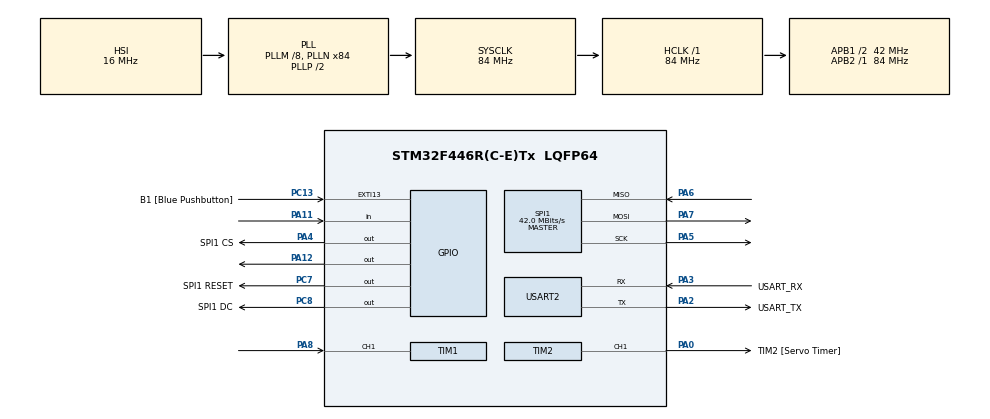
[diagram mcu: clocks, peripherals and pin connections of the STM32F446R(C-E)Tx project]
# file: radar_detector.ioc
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Mcu.Family=STM32F4
Mcu.Name=STM32F446R(C-E)Tx
Mcu.Package=LQFP64
NVIC.EXTI15_10_IRQn=true\:0\:0\:false\:false\:true\:true\:true\:true
NVIC.PriorityGroup=NVIC_PRIORITYGROUP_0
NVIC.TIM1_CC_IRQn=true\:0\:0\:false\:false\:true\:true\:true\:true
PA0-WKUP.GPIO_Label=TIM2 [Servo Timer]
PA0-WKUP.Signal=S_TIM2_CH1_ETR
PA11.Signal=GPIO_Input
PA12.Signal=GPIO_Output
PA13.GPIO_Label=TMS
PA13.Mode=Serial_Wire
PA13.Signal=SYS_JTMS-SWDIO
PA14.GPIO_Label=TCK
PA14.Mode=Serial_Wire
PA14.Signal=SYS_JTCK-SWCLK
PA2.GPIO_Label=USART_TX
PA2.Mode=Asynchronous
PA2.Signal=USART2_TX
PA3.GPIO_Label=USART_RX
PA3.Mode=Asynchronous
PA3.Signal=USART2_RX
PA4.GPIO_Label=SPI1 CS
PA4.GPIO_Speed=GPIO_SPEED_FREQ_VERY_HIGH
PA4.PinState=GPIO_PIN_SET
PA4.Signal=GPIO_Output
PA5.Mode=Full_Duplex_Master
PA5.Signal=SPI1_SCK
PA6.Mode=Full_Duplex_Master
PA6.Signal=SPI1_MISO
PA7.Mode=Full_Duplex_Master
PA7.Signal=SPI1_MOSI
PA8.Signal=S_TIM1_CH1
PB3.GPIO_Label=SWO
PB3.Signal=SYS_JTDO-SWO
PC13.GPIO_Label=B1 [Blue Pushbutton]
PC13.GPIO_ModeDefaultEXTI=GPIO_MODE_IT_FALLING
PC13.Signal=GPXTI13
PC14-OSC32_IN.Signal=RCC_OSC32_IN
PC15-OSC32_OUT.Signal=RCC_OSC32_OUT
PC7.GPIO_Label=SPI1 RESET
PC7.GPIO_Speed=GPIO_SPEED_FREQ_VERY_HIGH
PC7.Signal=GPIO_Output
PC8.GPIO_Label=SPI1 DC
PC8.GPIO_Speed=GPIO_SPEED_FREQ_VERY_HIGH
PC8.PinState=GPIO_PIN_RESET
PC8.Signal=GPIO_Output
PH0-OSC_IN.Mode=HSE-External-Oscillator
PH0-OSC_IN.Signal=RCC_OSC_IN
PH1-OSC_OUT.Mode=HSE-External-Oscillator
PH1-OSC_OUT.Signal=RCC_OSC_OUT
ProjectManager.HeapSize=0x200
ProjectManager.StackSize=0x400
ProjectManager.TargetToolchain=STM32CubeIDE
RCC.48MHZClocksFreq_Value=84000000
RCC.AHBFreq_Value=84000000
RCC.APB1CLKDivider=RCC_HCLK_DIV2
RCC.APB1Freq_Value=42000000
RCC.APB1TimFreq_Value=84000000
RCC.APB2Freq_Value=84000000
RCC.APB2TimFreq_Value=84000000
RCC.CortexFreq_Value=84000000
RCC.FLatency-AdvancedSettings=FLASH_LATENCY_2
RCC.HCLKFreq_Value=84000000
RCC.HSE_VALUE=8000000
RCC.HSI_VALUE=16000000
RCC.PLLM=8
RCC.PLLN=84
RCC.SYSCLKFreq_VALUE=84000000
RCC.SYSCLKSource=RCC_SYSCLKSOURCE_PLLCLK
RCC.USBFreq_Value=84000000
RCC.VCOOutputFreq_Value=168000000
SH.S_TIM1_CH1.0=TIM1_CH1,Input_Capture1_from_TI1
SH.S_TIM2_CH1_ETR.0=TIM2_CH1,PWM Generation1 CH1
SPI1.BaudRatePrescaler=SPI_BAUDRATEPRESCALER_2
SPI1.CalculateBaudRate=42.0 MBits/s
SPI1.DataSize=SPI_DATASIZE_8BIT
SPI1.Direction=SPI_DIRECTION_2LINES
SPI1.Mode=SPI_MODE_MASTER
SPI1.VirtualType=VM_MASTER
TIM1.Channel-Input_Capture1_from_TI1=TIM_CHANNEL_1
TIM1.Period=0xffff-1
TIM1.Prescaler=84-1
TIM2.Channel-PWM\ Generation1\ CH1=TIM_CHANNEL_1
TIM2.Period=8400-1
TIM2.Prescaler=200-1
USART2.VirtualMode=VM_ASYNC
VP_TIM1_VS_ClockSourceINT.Mode=Internal
VP_TIM2_VS_ClockSourceINT.Mode=Internal
board=NUCLEO-F446RE

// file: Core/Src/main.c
/* USER CODE BEGIN Header */
/**
  ******************************************************************************
  * @file           : main.c
  * @brief          : Main program body
  ******************************************************************************
  * @attention
  *
  * Copyright (c) 2025 STMicroelectronics.
  * All rights reserved.
  *
  * This software is licensed under terms that can be found in the LICENSE file
  * in the root directory of this software component.
  * If no LICENSE file comes with this software, it is provided AS-IS.
  *
  ******************************************************************************
  */
/* USER CODE END Header */
#include "main.h"

/* USER CODE BEGIN Includes */
#include <string.h>
#include "servo.h"
#include "HC_SR04.h"
#include <stdio.h>
#include "ILI9341_STM32_Driver.h"
/* USER CODE END Includes */

/* USER CODE BEGIN PD */
#define TIMEOUT 15
/* USER CODE END PD */

SPI_HandleTypeDef hspi1;

TIM_HandleTypeDef htim1;
TIM_HandleTypeDef htim2;

UART_HandleTypeDef huart2;

/* USER CODE BEGIN PV */
int button_state = 0;
static uint16_t current_angle = 0;
static int8_t direction =1; //1 is forward, -1 is reverse
/* USER CODE END PV */

void SystemClock_Config(void);
static void MX_GPIO_Init(void);
static void MX_USART2_UART_Init(void);
static void MX_TIM2_Init(void);
static void MX_TIM1_Init(void);
static void MX_SPI1_Init(void);

int main(void)
{

  /* USER CODE BEGIN 1 */
	const char connection_msg[] = "UART to PC success \n";
	char transmit_distance_msg[22];
  /* USER CODE END 1 */

  /* MCU Configuration--------------------------------------------------------*/

  /* Reset of all peripherals, Initializes the Flash interface and the Systick. */
  HAL_Init();

  /* Configure the system clock */
  SystemClock_Config();

  /* Initialize all configured peripherals */
  MX_GPIO_Init();
  MX_USART2_UART_Init();
  MX_TIM2_Init();
  MX_TIM1_Init();
  MX_SPI1_Init();
  /* USER CODE BEGIN 2 */
  HAL_UART_Transmit(&huart2,(const uint8_t*) connection_msg , strlen(connection_msg), TIMEOUT);
  HAL_TIM_PWM_Start(&htim2, TIM_CHANNEL_1);
  HCR04_init(&htim1);
  ILI9341_Init(&hspi1);

  ILI9341_Fill_Screen(RED);
  HAL_Delay(1000);

  ILI9341_Fill_Screen(GREEN);
  HAL_Delay(1000);

  ILI9341_Fill_Screen(BLUE);
  HAL_Delay(1000);

  ILI9341_Fill_Screen(BLACK);
  HAL_Delay(1000);

  // Draw a single WHITE pixel at (10, 10)
  ILI9341_Draw_Pixel(10, 10, 0xFFFF);
  /* USER CODE END 2 */

  /* Infinite loop */
  /* USER CODE BEGIN WHILE */
  while (1)
  {

	  if(button_state == 0) {
		  set_servo_angle(&htim2, TIM_CHANNEL_1, current_angle);

		  uint16_t distance = HCSR04_read(&htim1);
		  uint32_t filtered = median_filter(distance);
		  sprintf(transmit_distance_msg, "Dist: %lu cm \r\n", filtered);
		  HAL_UART_Transmit(&huart2, (uint8_t*)transmit_distance_msg, strlen(transmit_distance_msg), TIMEOUT);
		  HAL_Delay(10);
		  draw_line_to_object(current_angle, filtered);

		  current_angle += direction;

		  //change direction at boundaries
		  if(current_angle >= 180) {
			  direction = -1; //start going backward
			  ILI9341_Fill_Screen(BLACK);
		  } else if(current_angle <= 0) {
			  direction = 1; //start going forward
			  ILI9341_Fill_Screen(BLACK);
		  }
	 }
  }
    /* USER CODE END WHILE */

}

void SystemClock_Config(void)
{
  RCC_OscInitTypeDef RCC_OscInitStruct = {0};
  RCC_ClkInitTypeDef RCC_ClkInitStruct = {0};

  /** Configure the main internal regulator output voltage
  */
  __HAL_RCC_PWR_CLK_ENABLE();
  __HAL_PWR_VOLTAGESCALING_CONFIG(PWR_REGULATOR_VOLTAGE_SCALE3);

  /** Initializes the RCC Oscillators according to the specified parameters
  * in the RCC_OscInitTypeDef structure.
  */
  RCC_OscInitStruct.OscillatorType = RCC_OSCILLATORTYPE_HSI;
  RCC_OscInitStruct.HSIState = RCC_HSI_ON;
  RCC_OscInitStruct.HSICalibrationValue = RCC_HSICALIBRATION_DEFAULT;
  RCC_OscInitStruct.PLL.PLLState = RCC_PLL_ON;
  RCC_OscInitStruct.PLL.PLLSource = RCC_PLLSOURCE_HSI;
  RCC_OscInitStruct.PLL.PLLM = 8;
  RCC_OscInitStruct.PLL.PLLN = 84;
  RCC_OscInitStruct.PLL.PLLP = RCC_PLLP_DIV2;
  RCC_OscInitStruct.PLL.PLLQ = 2;
  RCC_OscInitStruct.PLL.PLLR = 2;
  if (HAL_RCC_OscConfig(&RCC_OscInitStruct) != HAL_OK)
  {
    Error_Handler();
  }

  /** Initializes the CPU, AHB and APB buses clocks
  */
  RCC_ClkInitStruct.ClockType = RCC_CLOCKTYPE_HCLK|RCC_CLOCKTYPE_SYSCLK
                              |RCC_CLOCKTYPE_PCLK1|RCC_CLOCKTYPE_PCLK2;
  RCC_ClkInitStruct.SYSCLKSource = RCC_SYSCLKSOURCE_PLLCLK;
  RCC_ClkInitStruct.AHBCLKDivider = RCC_SYSCLK_DIV1;
  RCC_ClkInitStruct.APB1CLKDivider = RCC_HCLK_DIV2;
  RCC_ClkInitStruct.APB2CLKDivider = RCC_HCLK_DIV1;

  if (HAL_RCC_ClockConfig(&RCC_ClkInitStruct, FLASH_LATENCY_2) != HAL_OK)
  {
    Error_Handler();
  }
}

static void MX_SPI1_Init(void)
{

  /* SPI1 parameter configuration*/
  hspi1.Instance = SPI1;
  hspi1.Init.Mode = SPI_MODE_MASTER;
  hspi1.Init.Direction = SPI_DIRECTION_2LINES;
  hspi1.Init.DataSize = SPI_DATASIZE_8BIT;
  hspi1.Init.CLKPolarity = SPI_POLARITY_LOW;
  hspi1.Init.CLKPhase = SPI_PHASE_1EDGE;
  hspi1.Init.NSS = SPI_NSS_SOFT;
  hspi1.Init.BaudRatePrescaler = SPI_BAUDRATEPRESCALER_2;
  hspi1.Init.FirstBit = SPI_FIRSTBIT_MSB;
  hspi1.Init.TIMode = SPI_TIMODE_DISABLE;
  hspi1.Init.CRCCalculation = SPI_CRCCALCULATION_DISABLE;
  hspi1.Init.CRCPolynomial = 10;
  if (HAL_SPI_Init(&hspi1) != HAL_OK)
  {
    Error_Handler();
  }

}

static void MX_TIM1_Init(void)
{

  TIM_ClockConfigTypeDef sClockSourceConfig = {0};
  TIM_MasterConfigTypeDef sMasterConfig = {0};
  TIM_IC_InitTypeDef sConfigIC = {0};

  htim1.Instance = TIM1;
  htim1.Init.Prescaler = 84-1;
  htim1.Init.CounterMode = TIM_COUNTERMODE_UP;
  htim1.Init.Period = 0xffff-1;
  htim1.Init.ClockDivision = TIM_CLOCKDIVISION_DIV1;
  htim1.Init.RepetitionCounter = 0;
  htim1.Init.AutoReloadPreload = TIM_AUTORELOAD_PRELOAD_DISABLE;
  if (HAL_TIM_Base_Init(&htim1) != HAL_OK)
  {
    Error_Handler();
  }
  sClockSourceConfig.ClockSource = TIM_CLOCKSOURCE_INTERNAL;
  if (HAL_TIM_ConfigClockSource(&htim1, &sClockSourceConfig) != HAL_OK)
  {
    Error_Handler();
  }
  if (HAL_TIM_IC_Init(&htim1) != HAL_OK)
  {
    Error_Handler();
  }
  sMasterConfig.MasterOutputTrigger = TIM_TRGO_RESET;
  sMasterConfig.MasterSlaveMode = TIM_MASTERSLAVEMODE_DISABLE;
  if (HAL_TIMEx_MasterConfigSynchronization(&htim1, &sMasterConfig) != HAL_OK)
  {
    Error_Handler();
  }
  sConfigIC.ICPolarity = TIM_INPUTCHANNELPOLARITY_RISING;
  sConfigIC.ICSelection = TIM_ICSELECTION_DIRECTTI;
  sConfigIC.ICPrescaler = TIM_ICPSC_DIV1;
  sConfigIC.ICFilter = 0;
  if (HAL_TIM_IC_ConfigChannel(&htim1, &sConfigIC, TIM_CHANNEL_1) != HAL_OK)
  {
    Error_Handler();
  }

}

static void MX_TIM2_Init(void)
{

  TIM_ClockConfigTypeDef sClockSourceConfig = {0};
  TIM_MasterConfigTypeDef sMasterConfig = {0};
  TIM_OC_InitTypeDef sConfigOC = {0};

  htim2.Instance = TIM2;
  htim2.Init.Prescaler = 200-1;
  htim2.Init.CounterMode = TIM_COUNTERMODE_UP;
  htim2.Init.Period = 8400-1;
  htim2.Init.ClockDivision = TIM_CLOCKDIVISION_DIV1;
  htim2.Init.AutoReloadPreload = TIM_AUTORELOAD_PRELOAD_DISABLE;
  if (HAL_TIM_Base_Init(&htim2) != HAL_OK)
  {
    Error_Handler();
  }
  sClockSourceConfig.ClockSource = TIM_CLOCKSOURCE_INTERNAL;
  if (HAL_TIM_ConfigClockSource(&htim2, &sClockSourceConfig) != HAL_OK)
  {
    Error_Handler();
  }
  if (HAL_TIM_PWM_Init(&htim2) != HAL_OK)
  {
    Error_Handler();
  }
  sMasterConfig.MasterOutputTrigger = TIM_TRGO_RESET;
  sMasterConfig.MasterSlaveMode = TIM_MASTERSLAVEMODE_DISABLE;
  if (HAL_TIMEx_MasterConfigSynchronization(&htim2, &sMasterConfig) != HAL_OK)
  {
    Error_Handler();
  }
  sConfigOC.OCMode = TIM_OCMODE_PWM1;
  sConfigOC.Pulse = 0;
  sConfigOC.OCPolarity = TIM_OCPOLARITY_HIGH;
  sConfigOC.OCFastMode = TIM_OCFAST_DISABLE;
  if (HAL_TIM_PWM_ConfigChannel(&htim2, &sConfigOC, TIM_CHANNEL_1) != HAL_OK)
  {
    Error_Handler();
  }
  HAL_TIM_MspPostInit(&htim2);

}

static void MX_USART2_UART_Init(void)
{

  huart2.Instance = USART2;
  huart2.Init.BaudRate = 115200;
  huart2.Init.WordLength = UART_WORDLENGTH_8B;
  huart2.Init.StopBits = UART_STOPBITS_1;
  huart2.Init.Parity = UART_PARITY_NONE;
  huart2.Init.Mode = UART_MODE_TX_RX;
  huart2.Init.HwFlowCtl = UART_HWCONTROL_NONE;
  huart2.Init.OverSampling = UART_OVERSAMPLING_16;
  if (HAL_UART_Init(&huart2) != HAL_OK)
  {
    Error_Handler();
  }

}

static void MX_GPIO_Init(void)
{
  GPIO_InitTypeDef GPIO_InitStruct = {0};

  /* GPIO Ports Clock Enable */
  __HAL_RCC_GPIOC_CLK_ENABLE();
  __HAL_RCC_GPIOH_CLK_ENABLE();
  __HAL_RCC_GPIOA_CLK_ENABLE();
  __HAL_RCC_GPIOB_CLK_ENABLE();

  /*Configure GPIO pin Output Level */
  HAL_GPIO_WritePin(SPI1_CS_GPIO_Port, SPI1_CS_Pin, GPIO_PIN_SET);

  /*Configure GPIO pin Output Level */
  HAL_GPIO_WritePin(GPIOC, SPI1_RESET_Pin|SPI1_DC_Pin, GPIO_PIN_RESET);

  /*Configure GPIO pin Output Level */
  HAL_GPIO_WritePin(GPIOA, GPIO_PIN_12, GPIO_PIN_RESET);

  /*Configure GPIO pin : B1_Pin */
  GPIO_InitStruct.Pin = B1_Pin;
  GPIO_InitStruct.Mode = GPIO_MODE_IT_FALLING;
  GPIO_InitStruct.Pull = GPIO_NOPULL;
  HAL_GPIO_Init(B1_GPIO_Port, &GPIO_InitStruct);

  /*Configure GPIO pin : SPI1_CS_Pin */
  GPIO_InitStruct.Pin = SPI1_CS_Pin;
  GPIO_InitStruct.Mode = GPIO_MODE_OUTPUT_PP;
  GPIO_InitStruct.Pull = GPIO_NOPULL;
  GPIO_InitStruct.Speed = GPIO_SPEED_FREQ_VERY_HIGH;
  HAL_GPIO_Init(SPI1_CS_GPIO_Port, &GPIO_InitStruct);

  /*Configure GPIO pins : SPI1_RESET_Pin SPI1_DC_Pin */
  GPIO_InitStruct.Pin = SPI1_RESET_Pin|SPI1_DC_Pin;
  GPIO_InitStruct.Mode = GPIO_MODE_OUTPUT_PP;
  GPIO_InitStruct.Pull = GPIO_NOPULL;
  GPIO_InitStruct.Speed = GPIO_SPEED_FREQ_VERY_HIGH;
  HAL_GPIO_Init(GPIOC, &GPIO_InitStruct);

  /*Configure GPIO pin : PA11 */
  GPIO_InitStruct.Pin = GPIO_PIN_11;
  GPIO_InitStruct.Mode = GPIO_MODE_INPUT;
  GPIO_InitStruct.Pull = GPIO_NOPULL;
  HAL_GPIO_Init(GPIOA, &GPIO_InitStruct);

  /*Configure GPIO pin : PA12 */
  GPIO_InitStruct.Pin = GPIO_PIN_12;
  GPIO_InitStruct.Mode = GPIO_MODE_OUTPUT_PP;
  GPIO_InitStruct.Pull = GPIO_NOPULL;
  GPIO_InitStruct.Speed = GPIO_SPEED_FREQ_LOW;
  HAL_GPIO_Init(GPIOA, &GPIO_InitStruct);

  /* EXTI interrupt init*/
  HAL_NVIC_SetPriority(EXTI15_10_IRQn, 0, 0);
  HAL_NVIC_EnableIRQ(EXTI15_10_IRQn);

  /* USER CODE BEGIN MX_GPIO_Init_2 */
  HAL_GPIO_WritePin(GPIOA, GPIO_PIN_5, GPIO_PIN_SET); //start with LED on

  /* USER CODE END MX_GPIO_Init_2 */
}

/* USER CODE BEGIN 4 */
void HAL_GPIO_EXTI_Callback(uint16_t GPIO_Pin)
{
	if(GPIO_Pin == GPIO_PIN_13) //blue pushbutton pin
	{
		HAL_GPIO_TogglePin(GPIOA, GPIO_PIN_5);

		if(button_state == 0) {
			__HAL_RCC_TIM2_CLK_DISABLE(); // pause
			button_state = 1;
		} else {
			__HAL_RCC_TIM2_CLK_ENABLE();
			button_state = 0;
		}
	}
}
/* USER CODE END 4 */

void Error_Handler(void)
{
  __disable_irq();
  while (1)
  {
  }
}
